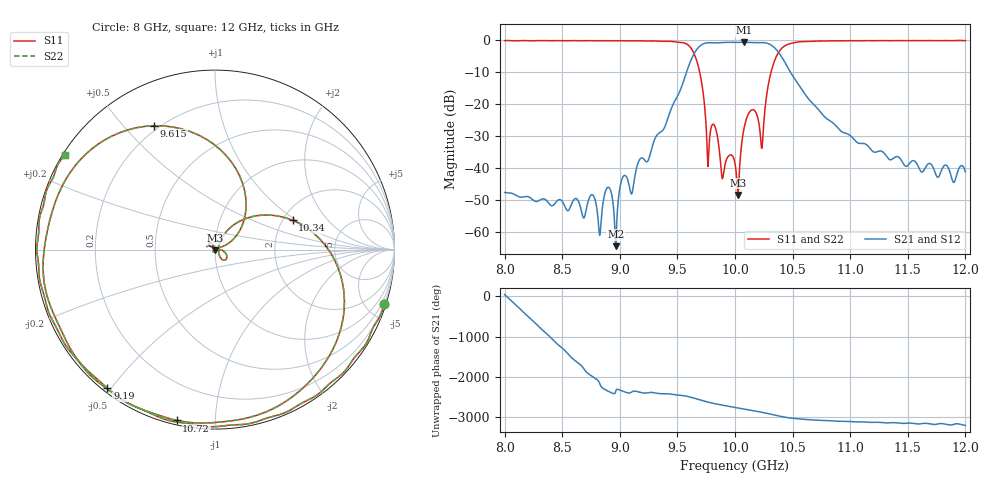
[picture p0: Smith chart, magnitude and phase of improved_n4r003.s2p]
! Improved SIW post filter n4r003: order 4, ripple 0.03 dB
! openEMS v0.37 FDTD, reciprocal & symmetric: S22=S11, S12=S21
# GHz S MA R 50
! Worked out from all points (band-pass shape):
!   801 points, 8 GHz to 12 GHz, reference 50 ohm
!   highest |S21| = -0.60 dB at 10.08 GHz (marker M1); lowest = -64.3 dB at 8.965 GHz (marker M2)
!   |S21| within 3 dB of the highest: 9.654 GHz to 10.37 GHz (720.6 MHz wide, 7.2 % of centre)
!   lowest |S11| = -48.3 dB at 10.03 GHz (marker M3), VSWR 1.01, Z = 50.1 - j0.36 ohm
!   |S11| at or under -10 dB: 9.694 GHz to 10.31 GHz (618.7 MHz wide, 6.18 % of centre)
!   |S22| runs from -48.3 to 0.0 dB; largest |S21 - S12| = 0
!   S11 on the Smith chart (normalised r, x): 8 GHz: 0.24, -6.32; 9.19 GHz: 0.01, -0.49; 9.615 GHz: 0.18, +0.61; 10.34 GHz: 2.26, +0.94; 10.72 GHz: 0.02, -0.80; 12 GHz: 0.01, +0.29
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8  0.9884 -18.0  0.004184 42.7  0.004184 42.7  0.9884 -18.0
8.67  0.9829 -73.8  0.002024 70.2  0.002024 70.2  0.9829 -73.8
8.825  0.9839 -87.8  0.0008947 -1.1  0.0008947 -1.1  0.9839 -87.8
8.9  0.9837 -95.3  0.005053 165.5  0.005053 165.5  0.9837 -95.3
8.965  0.9829 -101.5  0.0006061 170.1  0.0006061 170.1  0.9829 -101.5
9.19  0.9777 -127.8  0.0145 131.5  0.0145 131.5  0.9777 -127.8
9.335  0.9704 -149.8  0.03491 111.9  0.03491 111.9  0.9704 -149.8
9.615  0.7689 116.2  0.4772 19.4  0.4772 19.4  0.7689 116.2
9.68  0.4019 67.6  0.765 -35.0  0.765 -35.0  0.4019 67.6
9.76  0.01613 41.5  0.9144 -99.3  0.9144 -99.3  0.01613 41.5
9.825  0.04533 122.4  0.9109 -140.9  0.9109 -140.9  0.04533 122.4
9.88  0.00937 127.6  0.9227 -171.6  0.9227 -171.6  0.00937 127.6
10  0.01188 -126.6  0.9247 125.0  0.9247 125.0  0.01188 -126.6
10.025  0.003826 -70.0  0.9264 112.6  0.9264 112.6  0.003826 -70.0
10.08  0.04349 -7.4  0.933 84.9  0.933 84.9  0.04349 -7.4
10.235  0.02066 13.5  0.9243 4.5  0.9243 4.5  0.02066 13.5
10.34  0.4624 20.6  0.7754 -62.2  0.7754 -62.2  0.4624 20.6
10.44  0.8349 -33.8  0.4302 -119.8  0.4302 -119.8  0.8349 -33.8
10.67  0.9691 -94.4  0.1051 178.8  0.1051 178.8  0.9691 -94.4
10.72  0.9753 -102.6  0.08452 169.0  0.08452 169.0  0.9753 -102.6
11.335  0.986 -165.1  0.01393 103.8  0.01393 103.8  0.986 -165.1
12  0.9877 147.9  0.008829 39.3  0.008829 39.3  0.9877 147.9
